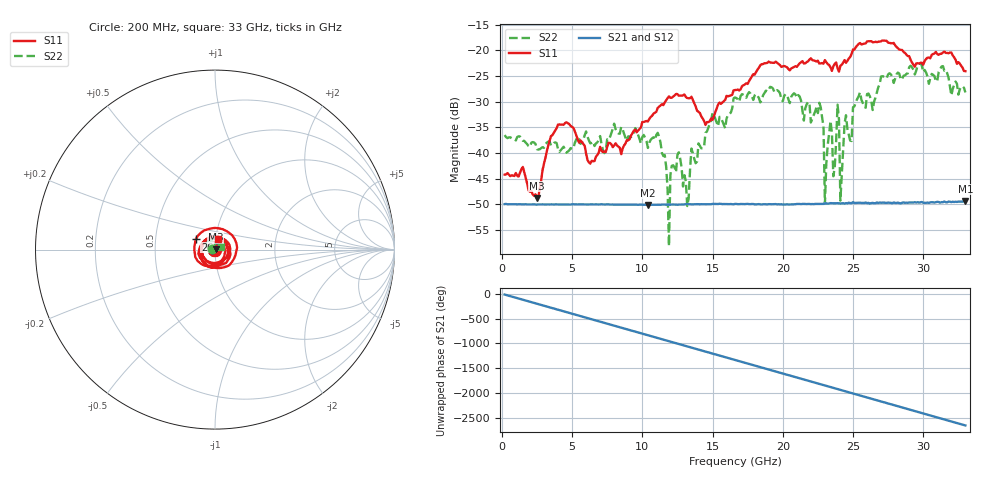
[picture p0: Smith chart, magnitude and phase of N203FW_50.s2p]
# GHZ S RI R 50
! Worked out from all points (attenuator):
!   329 points, 200 MHz to 33 GHz, reference 50 ohm
!   highest |S21| = -49.35 dB at 33 GHz (marker M1); lowest = -50.1 dB at 10.4 GHz (marker M2)
!   lowest |S11| = -48.8 dB at 2.5 GHz (marker M3), VSWR 1.01, Z = 50.4 + j0.0988 ohm
!   |S11| at or under -10 dB: start of sweep to end of sweep
!   |S22| runs from -58.2 to -22.5 dB; largest |S21 - S12| = 8.8e-05
!   S11 on the Smith chart (normalised r, x): 200 MHz: 1.01, +0.00; 26 GHz: 0.80, +0.09; 33 GHz: 1.02, +0.12
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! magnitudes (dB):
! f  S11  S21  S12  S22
! 200 MHz  -44.2  -50.0  -49.9  -36.5
! 2.5 GHz  -48.8  -50.1  -50.0  -39.3
! 4 GHz  -34.5  -50.0  -50.0  -39.2
! 5.7 GHz  -37.9  -50.0  -50.0  -38.0
! 10.4 GHz  -33.9  -50.1  -50.1  -39.0
! 11.2 GHz  -31.0  -50.1  -50.1  -36.8
! 11.7 GHz  -29.7  -50.1  -50.1  -42.7
! 11.9 GHz  -29.0  -50.1  -50.0  -58.2
! 12.1 GHz  -29.2  -50.1  -50.1  -42.5
! 13.2 GHz  -29.3  -50.0  -50.0  -50.3
! 13.5 GHz  -29.0  -50.0  -50.0  -39.1
! 16.6 GHz  -27.7  -49.9  -49.9  -29.2
! 22.1 GHz  -21.9  -50.0  -49.9  -33.4
! 22.7 GHz  -22.5  -49.9  -49.9  -31.1
! 22.9 GHz  -22.6  -49.9  -49.9  -34.8
! 23 GHz  -21.9  -49.9  -49.8  -49.9
! 23.9 GHz  -23.5  -49.8  -49.8  -30.6
! 24.1 GHz  -23.0  -49.8  -49.8  -49.3
! 24.5 GHz  -22.4  -49.8  -49.8  -32.6
! 26 GHz  -18.3  -49.8  -49.7  -28.5
! 27.6 GHz  -18.6  -49.7  -49.7  -24.5
! 33 GHz  -24.1  -49.4  -49.4  -28.2
